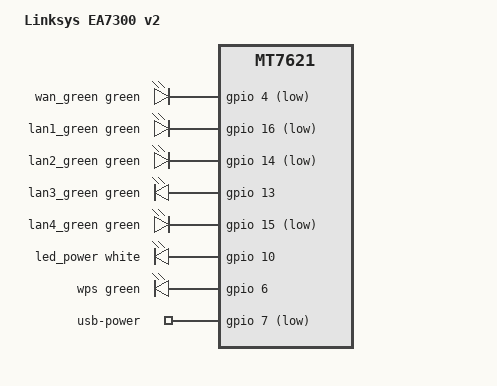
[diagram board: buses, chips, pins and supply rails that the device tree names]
// SPDX-License-Identifier: GPL-2.0-or-later OR MIT

#include "mt7621_linksys_ea7xxx.dtsi"

/ {
	compatible = "linksys,ea7300-v2", "mediatek,mt7621-soc";
	model = "Linksys EA7300 v2";

	/delete-node/ leds;

	leds {
		compatible = "gpio-leds";

		wan_green {
			function = LED_FUNCTION_WAN;
			color = <LED_COLOR_ID_GREEN>;
			gpios = <&gpio 4 GPIO_ACTIVE_LOW>;
		};

		lan1_green {
			function = LED_FUNCTION_LAN;
			function-enumerator = <1>;
			color = <LED_COLOR_ID_GREEN>;
			gpios = <&gpio 16 GPIO_ACTIVE_LOW>;
		};

		lan2_green {
			function = LED_FUNCTION_LAN;
			function-enumerator = <2>;
			color = <LED_COLOR_ID_GREEN>;
			gpios = <&gpio 14 GPIO_ACTIVE_LOW>;
		};

		lan3_green {
			function = LED_FUNCTION_LAN;
			function-enumerator = <3>;
			color = <LED_COLOR_ID_GREEN>;
			gpios = <&gpio 13 GPIO_ACTIVE_HIGH>;
		};

		lan4_green {
			function = LED_FUNCTION_LAN;
			function-enumerator = <4>;
			color = <LED_COLOR_ID_GREEN>;
			gpios = <&gpio 15 GPIO_ACTIVE_LOW>;
		};

		led_power: power {
			function = LED_FUNCTION_POWER;
			color = <LED_COLOR_ID_WHITE>;
			gpios = <&gpio 10 GPIO_ACTIVE_HIGH>;
		};

		wps {
			function = LED_FUNCTION_WPS;
			color = <LED_COLOR_ID_GREEN>;
			gpios = <&gpio 6 GPIO_ACTIVE_HIGH>;
		};
	};

	gpio-export {
		compatible = "gpio-export";

		usb-power {
			gpio-export,name = "usb-power";
			gpio-export,output = <0>;
			gpios = <&gpio 7 GPIO_ACTIVE_LOW>;
		};
	};
};

/* override EEPROM size to 0x400 for MT7603 */
&eeprom_factory_0 {
	reg = <0x0 0x400>;
};
